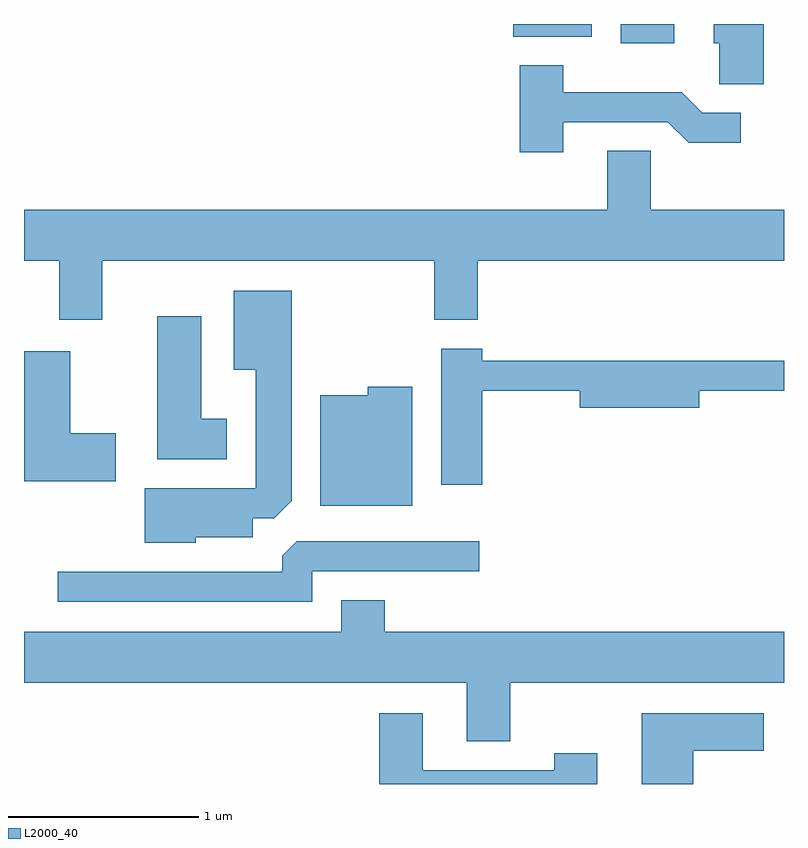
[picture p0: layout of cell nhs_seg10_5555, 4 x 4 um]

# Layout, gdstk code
import gdstk
lib = gdstk.Library(unit=1e-6, precision=1e-09)
def R(c, l, rs):  # rectangles x0, y0, x1, y1
    for r in rs: c.add(gdstk.rectangle(r[:2], r[2:], *l))
def P(c, l, *ps):  # polygons
    for p in ps: c.add(gdstk.Polygon(p, *l))
L2000_40 = (2000, 40)

nhs_seg10_5555 = lib.new_cell('nhs_seg10_5555')
R(nhs_seg10_5555, L2000_40, [(352.751,2088.421,353.034,2088.522), (352.186,2088.456,352.599,2088.522)])
P(nhs_seg10_5555, L2000_40, [(353.504,2088.522),(353.241,2088.522),(353.241,2088.421),(353.271,2088.421),(353.271,2088.206),(353.504,2088.206)],
  [(352.449,2088.006),(352.999,2088.006),(353.109,2087.896),(353.383,2087.896),(353.383,2088.054),(353.182,2088.054),(353.072,2088.164),(352.449,2088.164),(352.449,2088.304),(352.221,2088.304),(352.221,2087.846),(352.449,2087.846)],
  [(350.024,2087.276),(351.771,2087.276),(351.771,2086.966),(351.999,2086.966),(351.999,2087.276),(353.611,2087.276),(353.611,2087.544),(352.909,2087.544),(352.909,2087.854),(352.681,2087.854),(352.681,2087.544),(349.611,2087.544),(349.611,2087.276),(349.796,2087.276),(349.796,2086.966),(350.024,2086.966)],
  [(350.514,2085.821),(350.814,2085.821),(350.814,2085.921),(350.929,2085.921),(351.019,2086.012),(351.019,2087.119),(350.716,2087.119),(350.716,2086.701),(350.831,2086.701),(350.831,2086.079),(350.246,2086.079),(350.246,2085.791),(350.514,2085.791)],
  [(350.679,2086.444),(350.544,2086.444),(350.544,2086.984),(350.311,2086.984),(350.311,2086.231),(350.679,2086.231)],
  [(352.024,2086.591),(352.536,2086.591),(352.536,2086.501),(353.164,2086.501),(353.164,2086.591),(353.611,2086.591),(353.611,2086.749),(352.024,2086.749),(352.024,2086.814),(351.806,2086.814),(351.806,2086.096),(352.024,2086.096)],
  [(350.094,2086.369),(349.854,2086.369),(349.854,2086.799),(349.611,2086.799),(349.611,2086.116),(350.094,2086.116)],
  [(351.654,2086.614),(351.421,2086.614),(351.421,2086.569),(351.171,2086.569),(351.171,2085.986),(351.654,2085.986)],
  [(351.129,2085.641),(352.008,2085.641),(352.008,2085.799),(351.047,2085.799),(350.971,2085.724),(350.971,2085.639),(349.788,2085.639),(349.788,2085.481),(351.129,2085.481)],
  [(352.169,2085.056),(353.611,2085.056),(353.611,2085.324),(351.509,2085.324),(351.509,2085.489),(351.281,2085.489),(351.281,2085.324),(349.611,2085.324),(349.611,2085.056),(351.941,2085.056),(351.941,2084.746),(352.169,2084.746)],
  [(352.629,2084.684),(352.401,2084.684),(352.401,2084.594),(351.709,2084.594),(351.709,2084.894),(351.481,2084.894),(351.481,2084.522),(352.629,2084.522)],
  [(353.134,2084.696),(353.504,2084.696),(353.504,2084.894),(352.861,2084.894),(352.861,2084.522),(353.134,2084.522)])

lib.write_gds('nhs_seg10_5555.gds')
